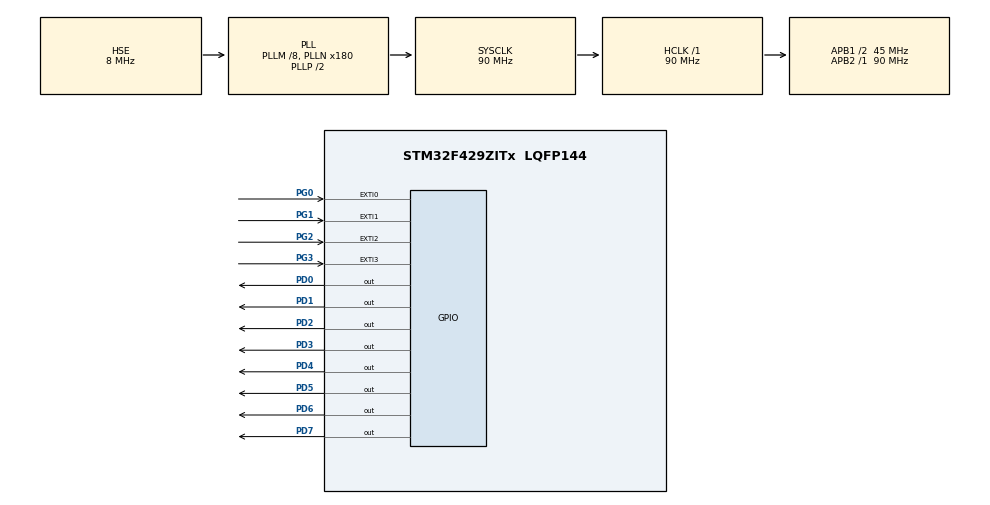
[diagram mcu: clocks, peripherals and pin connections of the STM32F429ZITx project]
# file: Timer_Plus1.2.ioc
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Mcu.Family=STM32F4
Mcu.Name=STM32F429ZITx
Mcu.Package=LQFP144
NVIC.EXTI0_IRQn=true\:0\:0\:false\:false\:true\:true\:true\:true
NVIC.EXTI1_IRQn=true\:0\:0\:false\:false\:true\:true\:true\:true
NVIC.EXTI2_IRQn=true\:0\:0\:false\:false\:true\:true\:true\:true
NVIC.EXTI3_IRQn=true\:0\:0\:false\:false\:true\:true\:true\:true
NVIC.PriorityGroup=NVIC_PRIORITYGROUP_4
NVIC.TIM3_IRQn=true\:0\:0\:false\:false\:true\:true\:true\:true
NVIC.TIM4_IRQn=true\:0\:0\:false\:false\:true\:true\:true\:true
NVIC.TIM6_DAC_IRQn=true\:0\:0\:false\:false\:true\:true\:true\:true
NVIC.TIM7_IRQn=true\:0\:0\:false\:false\:true\:true\:true\:true
PA13.Mode=Serial_Wire
PA13.Signal=SYS_JTMS-SWDIO
PA14.Mode=Serial_Wire
PA14.Signal=SYS_JTCK-SWCLK
PD0.GPIO_ModeDefaultOutputPP=GPIO_MODE_OUTPUT_PP
PD0.GPIO_PuPd=GPIO_PULLUP
PD0.GPIO_Speed=GPIO_SPEED_FREQ_HIGH
PD0.PinState=GPIO_PIN_RESET
PD0.Signal=GPIO_Output
PD1.GPIO_ModeDefaultOutputPP=GPIO_MODE_OUTPUT_PP
PD1.GPIO_PuPd=GPIO_PULLUP
PD1.GPIO_Speed=GPIO_SPEED_FREQ_HIGH
PD1.PinState=GPIO_PIN_RESET
PD1.Signal=GPIO_Output
PD2.GPIO_ModeDefaultOutputPP=GPIO_MODE_OUTPUT_PP
PD2.GPIO_PuPd=GPIO_PULLUP
PD2.GPIO_Speed=GPIO_SPEED_FREQ_HIGH
PD2.PinState=GPIO_PIN_RESET
PD2.Signal=GPIO_Output
PD3.GPIO_ModeDefaultOutputPP=GPIO_MODE_OUTPUT_PP
PD3.GPIO_PuPd=GPIO_PULLUP
PD3.GPIO_Speed=GPIO_SPEED_FREQ_HIGH
PD3.PinState=GPIO_PIN_RESET
PD3.Signal=GPIO_Output
PD4.GPIO_ModeDefaultOutputPP=GPIO_MODE_OUTPUT_PP
PD4.GPIO_PuPd=GPIO_PULLUP
PD4.GPIO_Speed=GPIO_SPEED_FREQ_HIGH
PD4.PinState=GPIO_PIN_RESET
PD4.Signal=GPIO_Output
PD5.GPIO_ModeDefaultOutputPP=GPIO_MODE_OUTPUT_PP
PD5.GPIO_PuPd=GPIO_PULLUP
PD5.GPIO_Speed=GPIO_SPEED_FREQ_HIGH
PD5.PinState=GPIO_PIN_RESET
PD5.Signal=GPIO_Output
PD6.GPIO_ModeDefaultOutputPP=GPIO_MODE_OUTPUT_PP
PD6.GPIO_PuPd=GPIO_PULLUP
PD6.GPIO_Speed=GPIO_SPEED_FREQ_HIGH
PD6.PinState=GPIO_PIN_RESET
PD6.Signal=GPIO_Output
PD7.GPIO_ModeDefaultOutputPP=GPIO_MODE_OUTPUT_PP
PD7.GPIO_PuPd=GPIO_PULLUP
PD7.GPIO_Speed=GPIO_SPEED_FREQ_HIGH
PD7.PinState=GPIO_PIN_RESET
PD7.Signal=GPIO_Output
PG0.GPIO_ModeDefaultEXTI=GPIO_MODE_IT_FALLING
PG0.GPIO_PuPd=GPIO_NOPULL
PG0.Signal=GPXTI0
PG1.GPIO_ModeDefaultEXTI=GPIO_MODE_IT_FALLING
PG1.GPIO_PuPd=GPIO_NOPULL
PG1.Signal=GPXTI1
PG2.GPIO_ModeDefaultEXTI=GPIO_MODE_IT_FALLING
PG2.GPIO_PuPd=GPIO_NOPULL
PG2.Signal=GPXTI2
PG3.GPIO_ModeDefaultEXTI=GPIO_MODE_IT_FALLING
PG3.GPIO_PuPd=GPIO_NOPULL
PG3.Signal=GPXTI3
PH0/OSC_IN.Mode=HSE-External-Clock-Source
PH0/OSC_IN.Signal=RCC_OSC_IN
PH1/OSC_OUT.Mode=HSE-External-Clock-Source
PH1/OSC_OUT.Signal=RCC_OSC_OUT
ProjectManager.HeapSize=0x200
ProjectManager.StackSize=0x400
ProjectManager.TargetToolchain=STM32CubeIDE
RCC.48MHZClocksFreq_Value=45000000
RCC.AHBFreq_Value=90000000
RCC.APB1CLKDivider=RCC_HCLK_DIV2
RCC.APB1Freq_Value=45000000
RCC.APB1TimFreq_Value=90000000
RCC.APB2Freq_Value=90000000
RCC.APB2TimFreq_Value=90000000
RCC.CortexFreq_Value=90000000
RCC.HCLKFreq_Value=90000000
RCC.HSE_VALUE=8000000
RCC.HSI_VALUE=16000000
RCC.LSE_VALUE=32768
RCC.PLLM=8
RCC.PLLN=180
RCC.PLLSourceVirtual=RCC_PLLSOURCE_HSE
RCC.SYSCLKFreq_VALUE=90000000
RCC.SYSCLKSource=RCC_SYSCLKSOURCE_PLLCLK
RCC.VCOOutputFreq_Value=180000000
TIM3.Period=2499
TIM3.Prescaler=8999
TIM4.Period=3332
TIM4.Prescaler=8999
TIM6.Period=4999
TIM6.Prescaler=8999
TIM7.Period=9999
TIM7.Prescaler=8999
VP_TIM3_VS_ClockSourceINT.Mode=Internal
VP_TIM4_VS_ClockSourceINT.Mode=Internal
VP_TIM6_VS_ClockSourceINT.Mode=Enable_Timer
VP_TIM7_VS_ClockSourceINT.Mode=Enable_Timer
board=custom

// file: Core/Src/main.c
/* USER CODE BEGIN Header */
/**
  ******************************************************************************
  * @file           : main.c
  * @brief          : Main program body
  ******************************************************************************
  * @attention
  *
  * Copyright (c) 2022 STMicroelectronics.
  * All rights reserved.
  *
  * This software is licensed under terms that can be found in the LICENSE file
  * in the root directory of this software component.
  * If no LICENSE file comes with this software, it is provided AS-IS.
  *
  ******************************************************************************
  */
/* USER CODE END Header */
#include "main.h"

TIM_HandleTypeDef htim3;
TIM_HandleTypeDef htim4;
TIM_HandleTypeDef htim6;
TIM_HandleTypeDef htim7;

void SystemClock_Config(void);
static void MX_GPIO_Init(void);
static void MX_TIM3_Init(void);
static void MX_TIM4_Init(void);
static void MX_TIM6_Init(void);
static void MX_TIM7_Init(void);
/* USER CODE BEGIN PFP */
void LED_OnOff(int, int);
/* USER CODE END PFP */

int main(void)
{

  /* MCU Configuration--------------------------------------------------------*/

  /* Reset of all peripherals, Initializes the Flash interface and the Systick. */
  HAL_Init();

  /* Configure the system clock */
  SystemClock_Config();

  /* Initialize all configured peripherals */
  MX_GPIO_Init();
  MX_TIM3_Init();
  MX_TIM4_Init();
  MX_TIM6_Init();
  MX_TIM7_Init();
  /* USER CODE BEGIN 2 */
  LED_OnOff(LED_ALL, 500);
  HAL_TIM_Base_Start_IT(&htim3);
  HAL_TIM_Base_Start_IT(&htim4);
  HAL_TIM_Base_Start_IT(&htim6);
  HAL_TIM_Base_Start_IT(&htim7);
  /* USER CODE END 2 */

  /* Infinite loop */
  while (1)
  {

  }
}

void SystemClock_Config(void)
{
  RCC_OscInitTypeDef RCC_OscInitStruct = {0};
  RCC_ClkInitTypeDef RCC_ClkInitStruct = {0};

  /** Configure the main internal regulator output voltage
  */
  __HAL_RCC_PWR_CLK_ENABLE();
  __HAL_PWR_VOLTAGESCALING_CONFIG(PWR_REGULATOR_VOLTAGE_SCALE3);

  /** Initializes the RCC Oscillators according to the specified parameters
  * in the RCC_OscInitTypeDef structure.
  */
  RCC_OscInitStruct.OscillatorType = RCC_OSCILLATORTYPE_HSE;
  RCC_OscInitStruct.HSEState = RCC_HSE_BYPASS;
  RCC_OscInitStruct.PLL.PLLState = RCC_PLL_ON;
  RCC_OscInitStruct.PLL.PLLSource = RCC_PLLSOURCE_HSE;
  RCC_OscInitStruct.PLL.PLLM = 8;
  RCC_OscInitStruct.PLL.PLLN = 180;
  RCC_OscInitStruct.PLL.PLLP = RCC_PLLP_DIV2;
  RCC_OscInitStruct.PLL.PLLQ = 4;
  if (HAL_RCC_OscConfig(&RCC_OscInitStruct) != HAL_OK)
  {
    Error_Handler();
  }

  /** Activate the Over-Drive mode
  */
  if (HAL_PWREx_EnableOverDrive() != HAL_OK)
  {
    Error_Handler();
  }

  /** Initializes the CPU, AHB and APB buses clocks
  */
  RCC_ClkInitStruct.ClockType = RCC_CLOCKTYPE_HCLK|RCC_CLOCKTYPE_SYSCLK
                              |RCC_CLOCKTYPE_PCLK1|RCC_CLOCKTYPE_PCLK2;
  RCC_ClkInitStruct.SYSCLKSource = RCC_SYSCLKSOURCE_PLLCLK;
  RCC_ClkInitStruct.AHBCLKDivider = RCC_SYSCLK_DIV1;
  RCC_ClkInitStruct.APB1CLKDivider = RCC_HCLK_DIV2;
  RCC_ClkInitStruct.APB2CLKDivider = RCC_HCLK_DIV1;

  if (HAL_RCC_ClockConfig(&RCC_ClkInitStruct, FLASH_LATENCY_2) != HAL_OK)
  {
    Error_Handler();
  }
}

static void MX_TIM3_Init(void)
{

  TIM_ClockConfigTypeDef sClockSourceConfig = {0};
  TIM_MasterConfigTypeDef sMasterConfig = {0};

  htim3.Instance = TIM3;
  htim3.Init.Prescaler = 8999;
  htim3.Init.CounterMode = TIM_COUNTERMODE_UP;
  htim3.Init.Period = 2499;
  htim3.Init.ClockDivision = TIM_CLOCKDIVISION_DIV1;
  htim3.Init.AutoReloadPreload = TIM_AUTORELOAD_PRELOAD_DISABLE;
  if (HAL_TIM_Base_Init(&htim3) != HAL_OK)
  {
    Error_Handler();
  }
  sClockSourceConfig.ClockSource = TIM_CLOCKSOURCE_INTERNAL;
  if (HAL_TIM_ConfigClockSource(&htim3, &sClockSourceConfig) != HAL_OK)
  {
    Error_Handler();
  }
  sMasterConfig.MasterOutputTrigger = TIM_TRGO_RESET;
  sMasterConfig.MasterSlaveMode = TIM_MASTERSLAVEMODE_DISABLE;
  if (HAL_TIMEx_MasterConfigSynchronization(&htim3, &sMasterConfig) != HAL_OK)
  {
    Error_Handler();
  }

}

static void MX_TIM4_Init(void)
{

  TIM_ClockConfigTypeDef sClockSourceConfig = {0};
  TIM_MasterConfigTypeDef sMasterConfig = {0};

  htim4.Instance = TIM4;
  htim4.Init.Prescaler = 8999;
  htim4.Init.CounterMode = TIM_COUNTERMODE_UP;
  htim4.Init.Period = 3332;
  htim4.Init.ClockDivision = TIM_CLOCKDIVISION_DIV1;
  htim4.Init.AutoReloadPreload = TIM_AUTORELOAD_PRELOAD_DISABLE;
  if (HAL_TIM_Base_Init(&htim4) != HAL_OK)
  {
    Error_Handler();
  }
  sClockSourceConfig.ClockSource = TIM_CLOCKSOURCE_INTERNAL;
  if (HAL_TIM_ConfigClockSource(&htim4, &sClockSourceConfig) != HAL_OK)
  {
    Error_Handler();
  }
  sMasterConfig.MasterOutputTrigger = TIM_TRGO_RESET;
  sMasterConfig.MasterSlaveMode = TIM_MASTERSLAVEMODE_DISABLE;
  if (HAL_TIMEx_MasterConfigSynchronization(&htim4, &sMasterConfig) != HAL_OK)
  {
    Error_Handler();
  }

}

static void MX_TIM6_Init(void)
{

  TIM_MasterConfigTypeDef sMasterConfig = {0};

  htim6.Instance = TIM6;
  htim6.Init.Prescaler = 8999;
  htim6.Init.CounterMode = TIM_COUNTERMODE_UP;
  htim6.Init.Period = 4999;
  htim6.Init.AutoReloadPreload = TIM_AUTORELOAD_PRELOAD_DISABLE;
  if (HAL_TIM_Base_Init(&htim6) != HAL_OK)
  {
    Error_Handler();
  }
  sMasterConfig.MasterOutputTrigger = TIM_TRGO_RESET;
  sMasterConfig.MasterSlaveMode = TIM_MASTERSLAVEMODE_DISABLE;
  if (HAL_TIMEx_MasterConfigSynchronization(&htim6, &sMasterConfig) != HAL_OK)
  {
    Error_Handler();
  }

}

static void MX_TIM7_Init(void)
{

  TIM_MasterConfigTypeDef sMasterConfig = {0};

  htim7.Instance = TIM7;
  htim7.Init.Prescaler = 8999;
  htim7.Init.CounterMode = TIM_COUNTERMODE_UP;
  htim7.Init.Period = 9999;
  htim7.Init.AutoReloadPreload = TIM_AUTORELOAD_PRELOAD_DISABLE;
  if (HAL_TIM_Base_Init(&htim7) != HAL_OK)
  {
    Error_Handler();
  }
  sMasterConfig.MasterOutputTrigger = TIM_TRGO_RESET;
  sMasterConfig.MasterSlaveMode = TIM_MASTERSLAVEMODE_DISABLE;
  if (HAL_TIMEx_MasterConfigSynchronization(&htim7, &sMasterConfig) != HAL_OK)
  {
    Error_Handler();
  }

}

static void MX_GPIO_Init(void)
{
  GPIO_InitTypeDef GPIO_InitStruct = {0};

  /* GPIO Ports Clock Enable */
  __HAL_RCC_GPIOH_CLK_ENABLE();
  __HAL_RCC_GPIOG_CLK_ENABLE();
  __HAL_RCC_GPIOA_CLK_ENABLE();
  __HAL_RCC_GPIOD_CLK_ENABLE();

  /*Configure GPIO pin Output Level */
  HAL_GPIO_WritePin(GPIOD, GPIO_PIN_0|GPIO_PIN_1|GPIO_PIN_2|GPIO_PIN_3
                          |GPIO_PIN_4|GPIO_PIN_5|GPIO_PIN_6|GPIO_PIN_7, GPIO_PIN_RESET);

  /*Configure GPIO pins : PG0 PG1 PG2 PG3 */
  GPIO_InitStruct.Pin = GPIO_PIN_0|GPIO_PIN_1|GPIO_PIN_2|GPIO_PIN_3;
  GPIO_InitStruct.Mode = GPIO_MODE_IT_FALLING;
  GPIO_InitStruct.Pull = GPIO_NOPULL;
  HAL_GPIO_Init(GPIOG, &GPIO_InitStruct);

  /*Configure GPIO pins : PD0 PD1 PD2 PD3
                           PD4 PD5 PD6 PD7 */
  GPIO_InitStruct.Pin = GPIO_PIN_0|GPIO_PIN_1|GPIO_PIN_2|GPIO_PIN_3
                          |GPIO_PIN_4|GPIO_PIN_5|GPIO_PIN_6|GPIO_PIN_7;
  GPIO_InitStruct.Mode = GPIO_MODE_OUTPUT_PP;
  GPIO_InitStruct.Pull = GPIO_PULLUP;
  GPIO_InitStruct.Speed = GPIO_SPEED_FREQ_HIGH;
  HAL_GPIO_Init(GPIOD, &GPIO_InitStruct);

  /* EXTI interrupt init*/
  HAL_NVIC_SetPriority(EXTI0_IRQn, 0, 0);
  HAL_NVIC_EnableIRQ(EXTI0_IRQn);

  HAL_NVIC_SetPriority(EXTI1_IRQn, 0, 0);
  HAL_NVIC_EnableIRQ(EXTI1_IRQn);

  HAL_NVIC_SetPriority(EXTI2_IRQn, 0, 0);
  HAL_NVIC_EnableIRQ(EXTI2_IRQn);

  HAL_NVIC_SetPriority(EXTI3_IRQn, 0, 0);
  HAL_NVIC_EnableIRQ(EXTI3_IRQn);

}

/* USER CODE BEGIN 4 */
void LED_OnOff(int led, int interval){
   HAL_GPIO_WritePin(GPIO_LED, led, GPIO_PIN_SET);
   HAL_GPIO_WritePin(GPIO_LED_Nucleo, led, GPIO_PIN_SET);

   HAL_Delay(interval);

   HAL_GPIO_WritePin(GPIO_LED, led, GPIO_PIN_RESET);
   HAL_GPIO_WritePin(GPIO_LED_Nucleo, led, GPIO_PIN_RESET);
}
void HAL_TIM_PeriodElapsedCallback(TIM_HandleTypeDef *htim)
{
	if (htim -> Instance == TIM3) HAL_GPIO_TogglePin(GPIO_LED, LED1 | LED2);
	else if (htim -> Instance == TIM4) HAL_GPIO_TogglePin(GPIO_LED, LED3 | LED4);
	else if (htim -> Instance == TIM6) HAL_GPIO_TogglePin(GPIO_LED, LED5 | LED6);
	else if (htim -> Instance == TIM7) HAL_GPIO_TogglePin(GPIO_LED, LED7 | LED8);
}
/* USER CODE END 4 */

void Error_Handler(void)
{
  __disable_irq();
  while (1)
  {
  }
}
